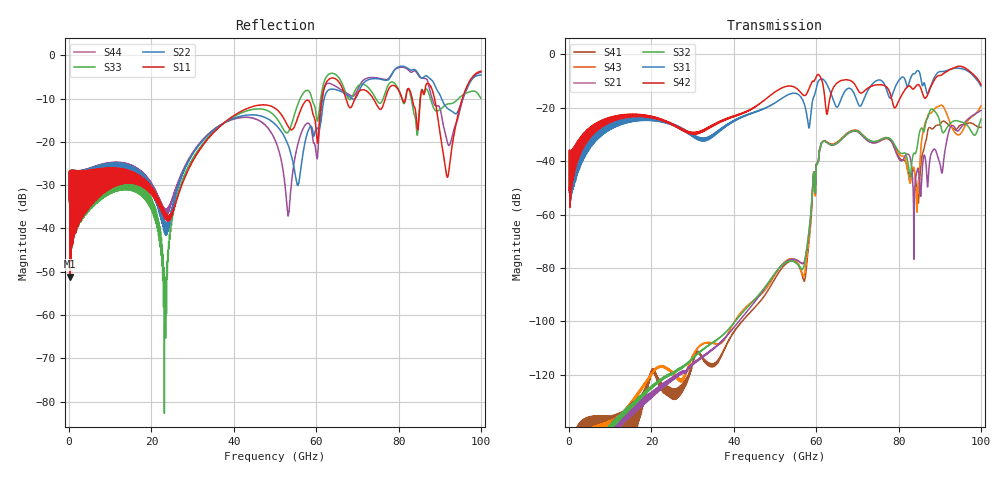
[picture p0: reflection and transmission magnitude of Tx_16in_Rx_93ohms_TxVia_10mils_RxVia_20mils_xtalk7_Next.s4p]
! Info: Touchstone file created by Circ.  Input file=Tx_16in_Rx_93ohms_TxVia_10mils_RxVia_20mils.circ
# Hz S RI R 50
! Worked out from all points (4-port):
!   10000 points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, 10 MHz to 100 GHz, reference 50 ohm
!   strongest paths, dB at 10 MHz, 25.01 GHz, 50.01 GHz, 75.01 GHz, 100 GHz:
!     S42: -50.9, -26.3, -14.1, -11.4, -11.4
!     S31: -51.7, -26.4, -18.2, -9.7, -11.9
!     S32: -, -119.5, -82.0, -32.4, -24.3
!     S21: -, -121.0, -82.1, -32.8, -21.0
!     S43: -153.9, -118.8, -82.6, -32.4, -19.3
!     S41: -154.1, -125.1, -84.0, -32.9, -27.3
!   lowest |S11| = -51.1 dB at 200 MHz (marker M1), VSWR 1.01, Z = 49.8 - j0.135 ohm
!   |S11| at or under -10 dB: start of sweep to 61.4 GHz; 73.86 GHz to 76.79 GHz (2.929 GHz wide, 3.89 % of centre); 88.75 GHz to 95.49 GHz (6.741 GHz wide, 7.32 % of centre) (the widest 3 of 6)
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1e7  0.0214 -0.00206  2.39e-11 -5.95e-11  0.000627 0.00252  -3.05e-09 1.95e-08
     2.39e-11 -5.95e-11  0.021 -0.00296  -8.68e-12 -8.42e-11  0.000662 0.00277
     0.000626 0.00252  -8.68e-12 -8.42e-11  0.0198 -0.00272  -4.99e-09 1.95e-08
     -3.05e-09 1.95e-08  0.000662 0.00277  -4.99e-09 1.95e-08  0.0206 -0.00295
2e8  -0.00243 -0.00136  5.98e-11 -6.87e-10  0.00152 0.00279  3.31e-09 1.07e-08
     5.98e-11 -6.87e-10  -0.00229 -0.00125  -2e-10 -1.15e-09  0.00144 0.00281
     0.00152 0.00279  -2e-10 -1.15e-09  -0.00226 -0.00133  -3.19e-10 -2.87e-09
     3.31e-09 1.07e-08  0.00144 0.00281  -3.19e-10 -2.87e-09  -0.00227 -0.00123
2.339e10  0.00859 0.0126  7.28e-07 5.48e-08  0.0232 -0.0466  6.23e-07 7.39e-08
          7.28e-07 5.48e-08  -0.00255 -0.00838  9.19e-07 9.26e-08  -0.00348 -0.0545
          0.0232 -0.0466  9.19e-07 9.26e-08  -0.000295 0.00131  1.37e-06 -1.83e-07
          6.23e-07 7.39e-08  -0.00348 -0.0545  1.37e-06 -1.83e-07  -0.00628 -0.0126
5.695e10  0.2172 -0.1685  0.000115 4.65e-05  0.0544 0.1155  5.83e-05 -1.15e-05
          0.000115 4.65e-05  -0.0799 0.011  8.79e-05 5.2e-05  0.12 0.1206
          0.0544 0.1155  8.79e-05 5.2e-05  0.3252 -0.1743  7.1e-05 7.15e-07
          5.83e-05 -1.15e-05  0.12 0.1206  7.1e-05 7.15e-07  -0.0946 -0.1109
6.164e10  0.2872 -0.2283  -0.00161 -0.0232  0.3067 0.1526  -0.00198 -0.0234
          -0.00161 -0.0232  -0.2127 -0.1517  -0.00264 -0.023  0.0537 -0.2672
          0.3067 0.1526  -0.00264 -0.023  0.312 -0.3084  -0.00301 -0.0233
          -0.00198 -0.0234  0.0537 -0.2672  -0.00301 -0.0233  -0.3101 -0.1658
8.451e10  0.1491 -0.0313  0.00542 -0.0038  -0.491 0.00203  0.00269 0.00105
          0.00542 -0.0038  -0.6282 -0.1271  -0.0176 0.00298  0.0119 0.2663
          -0.491 0.00203  -0.0176 0.00298  0.119 -0.0135  -0.00112 0.000226
          0.00269 0.00105  0.0119 0.2663  -0.00112 0.000226  -0.6004 -0.1579
1e11  -0.6553 0.00496  0.0376 -0.0806  0.062 0.2469  -0.043 -0.00268
      0.0376 -0.0806  -0.5906 0.0351  0.0225 -0.0567  0.0996 0.2504
      0.062 0.2469  0.0225 -0.0567  -0.2739 0.1614  0.00563 -0.1078
      -0.043 -0.00268  0.0996 0.2504  0.00563 -0.1078  -0.6304 0.0836
